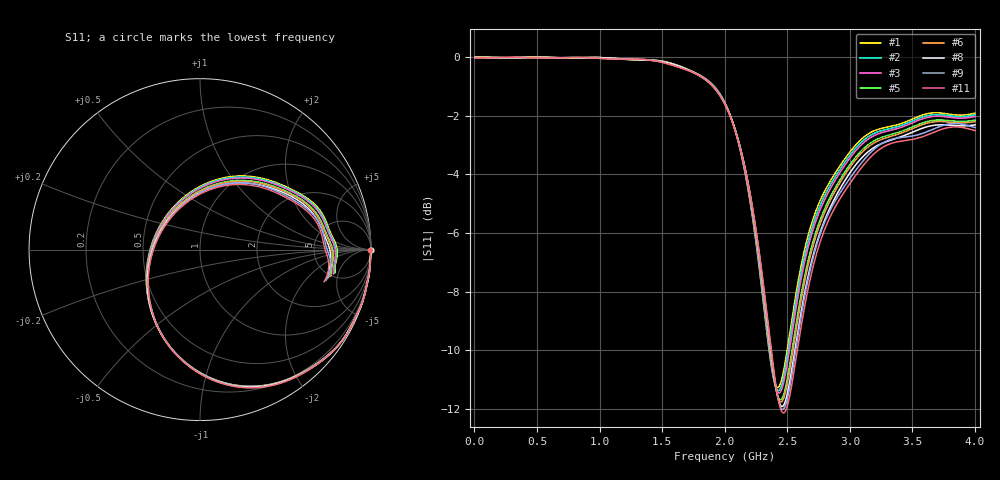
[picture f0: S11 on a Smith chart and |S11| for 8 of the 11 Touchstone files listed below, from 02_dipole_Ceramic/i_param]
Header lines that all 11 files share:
! TOUCHSTONE file generated by CST MICROWAVE STUDIO
! Project name: AppElm_antenne_dipole_Alumina.cst
! Header version: 2018
! Port assignment regex: !\s*Touchstone port\s*([0-9]+)\s*=\s*(CST MWS port|CST DS port)\s*([0-9]+|Zmin|Zmax)\s*\(\"(.*)\"\)(\s*mode\s*([0-9]+))?.*
! Touchstone port assignment:
! Touchstone port 1 = CST MWS port 1 ("")
# GHz S MA R 50
Fixed: L = 33, e = 0.035, f = 2.45e+09, h = 1.6, l1 = 2, lambda = 122.449, ls = 30, wl = 1.7, ws = 80
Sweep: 4 MHz to 4 GHz
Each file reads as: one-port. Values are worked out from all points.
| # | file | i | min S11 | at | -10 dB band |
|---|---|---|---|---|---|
| 1 | AppElm_antenne_dipole_Alumina_1.s1p | 0.6 | -11.3 dB | 2.424 GHz | 144.7 MHz wide |
| 2 | AppElm_antenne_dipole_Alumina_2.s1p | 0.64 | -11.4 dB | 2.428 GHz | 152.5 MHz wide |
| 3 | AppElm_antenne_dipole_Alumina_3.s1p | 0.68 | -11.5 dB | 2.432 GHz | 158.7 MHz wide |
| 4 | AppElm_antenne_dipole_Alumina_4.s1p | 0.72 | -11.6 dB | 2.44 GHz | 168.5 MHz wide |
| 5 | AppElm_antenne_dipole_Alumina_5.s1p | 0.76 | -11.7 dB | 2.444 GHz | 174.5 MHz wide |
| 6 | AppElm_antenne_dipole_Alumina_6.s1p | 0.8 | -11.8 dB | 2.448 GHz | 180.2 MHz wide |
| 7 | AppElm_antenne_dipole_Alumina_7.s1p | 0.84 | -11.8 dB | 2.452 GHz | 185.9 MHz wide |
| 8 | AppElm_antenne_dipole_Alumina_8.s1p | 0.88 | -11.9 dB | 2.46 GHz | 191.8 MHz wide |
| 9 | AppElm_antenne_dipole_Alumina_9.s1p | 0.92 | -12.0 dB | 2.464 GHz | 197.8 MHz wide |
| 10 | AppElm_antenne_dipole_Alumina_10.s1p | 0.96 | -12.1 dB | 2.464 GHz | 202.8 MHz wide |
| 11 | AppElm_antenne_dipole_Alumina_11.s1p | 1 | -12.1 dB | 2.468 GHz | 207.9 MHz wide |
